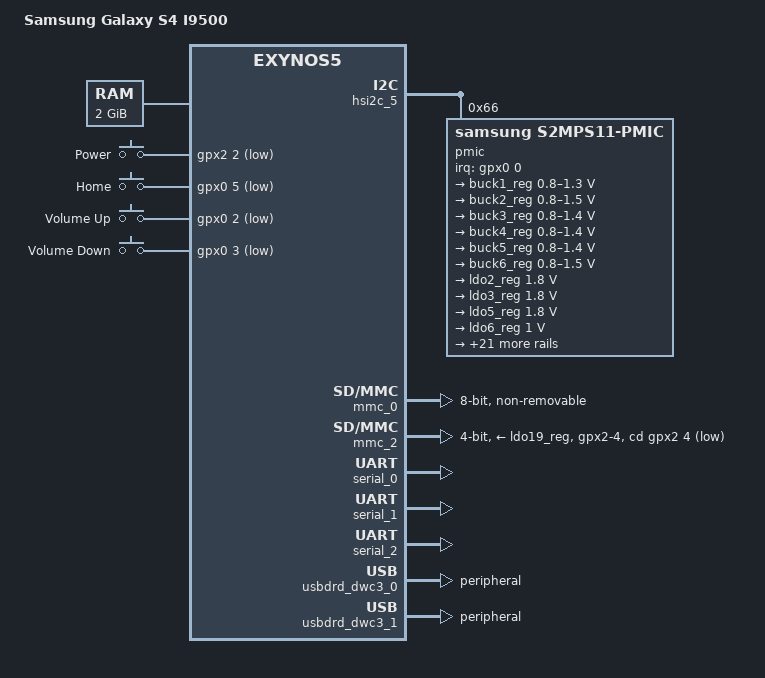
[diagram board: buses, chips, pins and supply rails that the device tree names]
// SPDX-License-Identifier: GPL-2.0
/*
 * Samsung Galaxy S4 I9500 device tree source
 *
 * Copyright (c) 2026 V6lhost <v6lhost@proton.me>
 */

/dts-v1/;
#include "exynos5410.dtsi"
#include <dt-bindings/gpio/gpio.h>
#include <dt-bindings/input/input.h>
#include <dt-bindings/clock/samsung,s2mps11.h>

/ {
	model = "Samsung Galaxy S4 I9500";
	compatible = "samsung,ja3g", "samsung,exynos5410", "samsung,exynos5";

	chassis-type = "tablet";

	memory@40000000 {
		device_type = "memory";
		reg = <0x40000000 0x80000000>;
	};

	aliases {
		mmc0 = &mmc_0;
		mmc1 = &mmc_1;
		mmc2 = &mmc_2;
	};

	chosen {
		stdout-path = "serial2:115200n8";
	};

	fin_pll: xxti {
		compatible = "fixed-clock";
		clock-frequency = <24000000>;
		clock-output-names = "fin_pll";
		#clock-cells = <0>;
	};

	firmware@2073000 {
		compatible = "samsung,secure-firmware";
		reg = <0x02073000 0x1000>;
	};

	gpio-keys {
		compatible = "gpio-keys";

		key-power {
			debounce-interval = <10>;
			gpios = <&gpx2 2 GPIO_ACTIVE_LOW>;
			label = "Power";
			linux,code = <KEY_POWER>;
			wakeup-source;
		};

		key-home {
			debounce-interval = <10>;
			gpios = <&gpx0 5 GPIO_ACTIVE_LOW>;
			label = "Home";
			linux,code = <KEY_HOME>;
			wakeup-source;
		};

		key-volume-up {
			debounce-interval = <10>;
			gpios = <&gpx0 2 GPIO_ACTIVE_LOW>;
			label = "Volume Up";
			linux,code = <KEY_VOLUMEUP>;
			wakeup-source;
		};

		key-volume-down {
			debounce-interval = <10>;
			gpios = <&gpx0 3 GPIO_ACTIVE_LOW>;
			label = "Volume Down";
			linux,code = <KEY_VOLUMEDOWN>;
			wakeup-source;
		};
	};

};

&hsi2c_5 {
	status = "okay";

	pmic@66 {
		compatible = "samsung,s2mps11-pmic";
		reg = <0x66>;

		interrupt-parent = <&gpx0>;
		interrupts = <0 IRQ_TYPE_LEVEL_LOW>;
		pinctrl-names = "default";
		pinctrl-0 = <&s2mps11_irq>;

		s2mps11_osc: clocks {
			compatible = "samsung,s2mps11-clk";
			#clock-cells = <1>;
			clock-output-names = "s2mps11_ap", "s2mps11_cp",
"s2mps11_bt";
		};

		regulators {
			buck1_reg: BUCK1 {
				regulator-name = "VDD_MIF_1V0";
				regulator-min-microvolt = <800000>;
				regulator-max-microvolt = <1300000>;
				regulator-always-on;
				regulator-boot-on;

				regulator-state-mem {
					regulator-off-in-suspend;
				};
			};

			buck2_reg: BUCK2 {
				regulator-name = "VDD_ARM_1V0";
				regulator-min-microvolt = <800000>;
				regulator-max-microvolt = <1500000>;
				regulator-always-on;
				regulator-boot-on;

				regulator-state-mem {
					regulator-off-in-suspend;
				};
			};

			buck3_reg: BUCK3 {
				regulator-name = "VDD_INT_1V0";
				regulator-min-microvolt = <800000>;
				regulator-max-microvolt = <1400000>;
				regulator-always-on;
				regulator-boot-on;

				regulator-state-mem {
					regulator-off-in-suspend;
				};
			};

			buck4_reg: BUCK4 {
				regulator-name = "VDD_G3D_1V0";
				regulator-min-microvolt = <800000>;
				regulator-max-microvolt = <1400000>;
				regulator-always-on;
				regulator-boot-on;

				regulator-state-mem {
					regulator-off-in-suspend;
				};
			};

			buck5_reg: BUCK5 {
				regulator-name = "VDD_MEM_1V2";
				regulator-min-microvolt = <800000>;
				regulator-max-microvolt = <1400000>;
				regulator-always-on;
				regulator-boot-on;

				regulator-state-mem {
					regulator-off-in-suspend;
				};
			};

			buck6_reg: BUCK6 {
				regulator-name = "VDD_KFC_1V0";
				regulator-min-microvolt = <800000>;
				regulator-max-microvolt = <1500000>;
				regulator-always-on;
				regulator-boot-on;

				regulator-state-mem {
					regulator-off-in-suspend;
				};
			};
			
			ldo2_reg: LDO2 {
				regulator-name = "VDD_APIO_1V8";
				regulator-min-microvolt = <1800000>;
				regulator-max-microvolt = <1800000>;
				regulator-always-on;
				regulator-boot-on;

				regulator-state-mem {
					regulator-on-in-suspend;
				};
			};

			ldo3_reg: LDO3 {
				regulator-name = "VDD_APIO_MMC1_1V8";
				regulator-min-microvolt = <1800000>;
				regulator-max-microvolt = <1800000>;
				regulator-always-on;

				regulator-state-mem {
					regulator-off-in-suspend;
				};
			};

			ldo5_reg: LDO5 {
				regulator-name = "VDD_XPLL_1V8";
				regulator-min-microvolt = <1800000>;
				regulator-max-microvolt = <1800000>;
				regulator-always-on;
				regulator-boot-on;

				regulator-state-mem {
					regulator-on-in-suspend;
				};
			};

			ldo6_reg: LDO6 {
				regulator-name = "VDD_MIPI_1V0";
				regulator-min-microvolt = <1000000>;
				regulator-max-microvolt = <1000000>;
				regulator-always-on;
				regulator-boot-on;
				
				regulator-state-mem {
					regulator-on-in-suspend;
				};
			};

			ldo7_reg: LDO7 {
				regulator-name = "VDD_MIPI_1V8";
				regulator-min-microvolt = <1800000>;
				regulator-max-microvolt = <1800000>;
				regulator-always-on;
				regulator-boot-on;

				regulator-state-mem {
					regulator-on-in-suspend;
				};
			};

			ldo8_reg: LDO8 {
				regulator-name = "VDD_ABB1_1V8";
				regulator-min-microvolt = <1800000>;
				regulator-max-microvolt = <1800000>;
				regulator-always-on;
				regulator-boot-on;

				regulator-state-mem {
					regulator-on-in-suspend;
				};
			};

			ldo9_reg: LDO9 {
				regulator-name = "VDD_UOTG_3V0";
				regulator-min-microvolt = <3000000>;
				regulator-max-microvolt = <3000000>;
				regulator-always-on;
				regulator-boot-on;

				regulator-state-mem {
					regulator-on-in-suspend;
				};
			};

			ldo10_reg: LDO10 {
				regulator-name = "VDDQ_PRE_1V8";
				regulator-min-microvolt = <1800000>;
				regulator-max-microvolt = <1800000>;
				regulator-always-on;
				regulator-boot-on;

				regulator-state-mem {
					regulator-on-in-suspend;
				};
			};

			ldo11_reg: LDO11 {
				regulator-name = "VDD_HSIC_1V0";
				regulator-min-microvolt = <1000000>;
				regulator-max-microvolt = <1000000>;
				regulator-always-on;
				regulator-boot-on;

				regulator-state-mem {
					regulator-on-in-suspend;
				};
			};

			ldo12_reg: LDO12 {
				regulator-name = "VDD_LDO12";
				regulator-min-microvolt = <1800000>;
				regulator-max-microvolt = <1800000>;
				regulator-always-on;
				regulator-boot-on;

				regulator-state-mem {
					regulator-on-in-suspend;
				};
			};

			ldo13_reg: LDO13 {
				regulator-name = "VDD_APIO_MMC2_2V8";
				regulator-min-microvolt = <1800000>;
				regulator-max-microvolt = <2800000>;
				regulator-boot-on;

				regulator-state-mem {
					regulator-off-in-suspend;
				};
			};

			ldo15_reg: LDO15 {
				regulator-name = "VDD_LCD_3V0";
				regulator-min-microvolt = <3000000>;
				regulator-max-microvolt = <3000000>;
				regulator-always-on;
				regulator-boot-on;

				regulator-state-mem {
					regulator-on-in-suspend;
				};
			};

			ldo16: LDO16 {
				regulator-name = "VDD_AP_2V8";
				regulator-min-microvolt = <2800000>;
				regulator-max-microvolt = <2800000>;
				regulator-always-on;
				regulator-boot-on;

				regulator-state-mem {
					regulator-on-in-suspend;
				};
			};

			ldo17_reg: LDO17 {
				regulator-name = "VDD_TSP_AVDD";
				regulator-min-microvolt = <3300000>;
				regulator-max-microvolt = <3300000>;
				regulator-always-on;
				regulator-boot-on;

				regulator-state-mem {
					regulator-on-in-suspend;
				};
			};

			ldo19_reg: LDO19 {
				regulator-name = "VDD_VTF_2V8";
				regulator-min-microvolt = <2800000>;
				regulator-max-microvolt = <2800000>;

				regulator-state-mem {
					regulator-off-in-suspend;
				};
			};

			ldo20_reg: LDO20 {
				regulator-name = "VDD_CAM_1V8";
				regulator-min-microvolt = <1800000>;
				regulator-max-microvolt = <1800000>;

				regulator-state-mem {
					regulator-off-in-suspend;
				};
			};

			ldo21_reg: LDO21 {
				regulator-name = "VDD_CAM_IO_1V8";
				regulator-min-microvolt = <1800000>;
				regulator-max-microvolt = <1800000>;

				regulator-state-mem {
					regulator-off-in-suspend;
				};
			};

			ldo22_reg: LDO22 {
				regulator-name = "VDD_CAM0_S_CORE_1V2";
				regulator-min-microvolt = <1050000>;
				regulator-max-microvolt = <1050000>;

				regulator-state-mem {
					regulator-off-in-suspend;
				};
			};

			ldo24_reg: LDO24 {
				regulator-name = "VDD_CAM_SENSOR_PM_A_2V8";
				regulator-min-microvolt = <2800000>;
				regulator-max-microvolt = <2800000>;

				regulator-state-mem {
					regulator-off-in-suspend;
				};
			};

			ldo25_reg: LDO25 {
				regulator-name = "VDD_TOUCH_1V8";
				regulator-min-microvolt = <1800000>;
				regulator-max-microvolt = <1800000>;
				regulator-always-on;
				regulator-boot-on;

				regulator-state-mem {
					regulator-off-in-suspend;
				};
			};

			ldo26_reg: LDO26 {
				regulator-name = "VDD_CAM0_AF_2V8";
				regulator-min-microvolt = <2800000>;
				regulator-max-microvolt = <2800000>;

				regulator-state-mem {
					regulator-off-in-suspend;
				};
			};

			ldo28_reg: LDO28 {
				regulator-name = "VDD_LCD_2V8";
				regulator-min-microvolt = <3000000>;
				regulator-max-microvolt = <3000000>;
				regulator-always-on;
				regulator-boot-on;

				regulator-state-mem {
					regulator-off-in-suspend;
				};
			};

			ldo30_reg: LDO30 {
				regulator-name = "VDD_TOUCH_1V8";
				regulator-min-microvolt = <1900000>;
				regulator-max-microvolt = <1900000>;

				regulator-state-mem {
					regulator-off-in-suspend;
				};
			};

			ldo32_reg: LDO32 {
				regulator-name = "VDD_TSP_1V8";
				regulator-min-microvolt = <1800000>;
				regulator-max-microvolt = <1800000>;
				regulator-always-on;
				regulator-boot-on;

				regulator-state-mem {
					regulator-off-in-suspend;
				};
			};

			ldo38_reg: LDO38 {
				regulator-name = "VDD_KEY_LED_3V3";
				regulator-min-microvolt = <3300000>;
				regulator-max-microvolt = <3300000>;

				regulator-state-mem {
					regulator-off-in-suspend;
				};
			};
		};
	};
};

/* Internal storage */
&mmc_0 {
	status = "okay";
	bus-width = <8>;
	cap-mmc-highspeed;
	card-detect-delay = <200>;
	mmc-ddr-1_8v;
	mmc-hs200-1_8v;
	non-removable;
	pinctrl-0 = <&sd0_clk &sd0_cmd &sd0_bus1 &sd0_bus4 &sd0_bus8>;
	pinctrl-names = "default";
	samsung,dw-mshc-ciu-div = <3>;
	samsung,dw-mshc-ddr-timing = <0 2>;
	samsung,dw-mshc-sdr-timing = <0 4>;
	vqmmc-supply = <&ldo3_reg>;
};

/* External sdcard */
&mmc_2 {
	status = "okay";
	bus-width = <4>;
	cap-sd-highspeed;
	card-detect-delay = <200>;
	cd-gpios = <&gpx2 4 GPIO_ACTIVE_LOW>;
	pinctrl-0 = <&sd2_clk &sd2_cmd &mmc2_cd &sd2_bus1 &sd2_bus4>;
	pinctrl-names = "default";
	samsung,dw-mshc-ciu-div = <3>;
	samsung,dw-mshc-ddr-timing = <0 2>;
	samsung,dw-mshc-sdr-timing = <0 4>;
	sd-uhs-sdr50;
	vmmc-supply = <&ldo19_reg>;
	vqmmc-supply = <&ldo13_reg>;
};

&pinctrl_0 {
	mmc2_cd: mmc2-cd-pins {
		samsung,pins = "gpx2-4";
		samsung,pin-pud = <EXYNOS_PIN_PULL_NONE>;
	};

	s2mps11_irq: s2mps11-irq-pins {
		samsung,pins = "gpx0-7";
		samsung,pin-function = <EXYNOS_PIN_FUNC_F>;
		samsung,pin-pud = <EXYNOS_PIN_PULL_NONE>;
		samsung,pin-drv = <EXYNOS5420_PIN_DRV_LV1>;
	};
};

&serial_0 {
	status = "okay";
};

&serial_1 {
	status = "okay";
};

&serial_2 {
	status = "okay";
};

&usbdrd_dwc3_0 {
	dr_mode = "peripheral";
};

&usbdrd_dwc3_1 {
	dr_mode = "peripheral";
};

&usbdrd3_0 {
	vdd10-supply = <&ldo11_reg>;
	vdd33-supply = <&ldo9_reg>;
};

&usbdrd3_1 {
	vdd10-supply = <&ldo11_reg>;
	vdd33-supply = <&ldo9_reg>;
};
